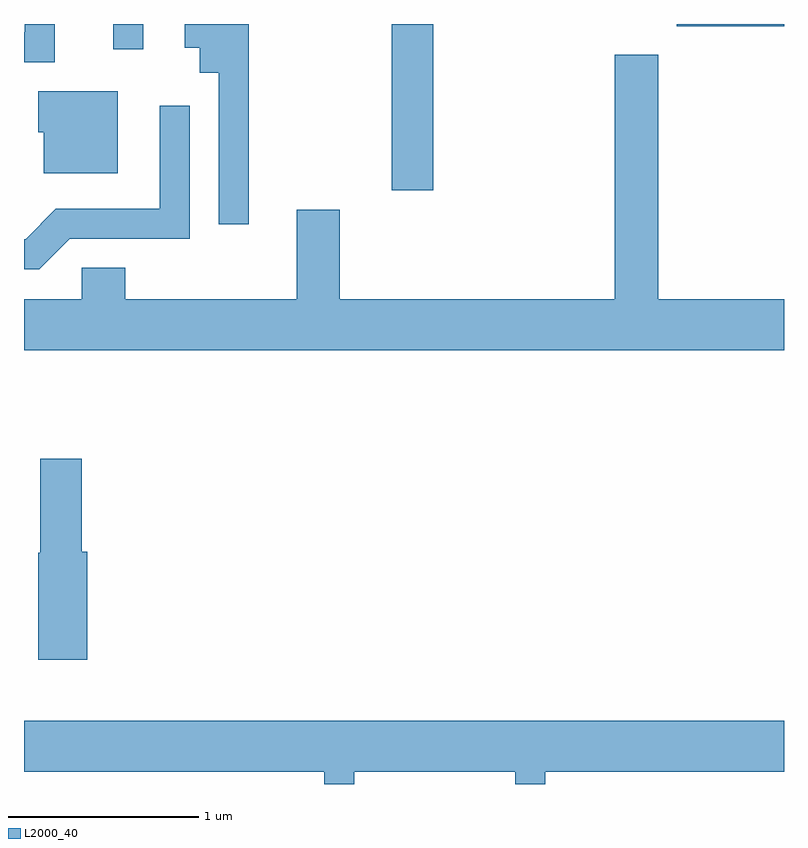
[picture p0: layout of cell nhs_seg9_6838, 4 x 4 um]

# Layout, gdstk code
import gdstk
lib = gdstk.Library(unit=1e-6, precision=1e-09)
def R(c, l, rs):  # rectangles x0, y0, x1, y1
    for r in rs: c.add(gdstk.rectangle(r[:2], r[2:], *l))
def P(c, l, *ps):  # polygons
    for p in ps: c.add(gdstk.Polygon(p, *l))
L2000_40 = (2000, 40)

nhs_seg9_6838 = lib.new_cell('nhs_seg9_6838')
R(nhs_seg9_6838, L2000_40, [(389.546,1981.556,389.764,1982.432), (388.081,1982.298,388.239,1982.432), (391.046,1982.421,391.611,1982.432)])
P(nhs_seg9_6838, L2000_40, [(388.794,1982.432),(388.456,1982.432),(388.456,1982.306),(388.536,1982.306),(388.536,1982.176),(388.636,1982.176),(388.636,1981.378),(388.794,1981.378)],
  [(387.774,1982.432),(387.616,1982.432),(387.616,1982.389),(387.611,1982.389),(387.611,1982.231),(387.774,1982.231)],
  [(391.611,1980.984),(390.949,1980.984),(390.949,1982.269),(390.721,1982.269),(390.721,1980.984),(389.274,1980.984),(389.274,1981.454),(389.046,1981.454),(389.046,1980.984),(388.144,1980.984),(388.144,1981.149),(387.916,1981.149),(387.916,1980.984),(387.611,1980.984),(387.611,1980.716),(391.611,1980.716)],
  [(388.104,1982.079),(387.686,1982.079),(387.686,1981.861),(387.716,1981.861),(387.716,1981.646),(388.104,1981.646)],
  [(387.852,1981.301),(388.484,1981.301),(388.484,1982.003),(388.326,1982.003),(388.326,1981.459),(387.779,1981.459),(387.619,1981.299),(387.611,1981.299),(387.611,1981.141),(387.692,1981.141)],
  [(387.944,1979.654),(387.914,1979.654),(387.914,1980.144),(387.696,1980.144),(387.696,1979.65),(387.686,1979.65),(387.686,1979.086),(387.944,1979.086)],
  [(389.349,1978.496),(390.196,1978.496),(390.196,1978.432),(390.354,1978.432),(390.354,1978.496),(391.611,1978.496),(391.611,1978.764),(387.611,1978.764),(387.611,1978.496),(389.191,1978.496),(389.191,1978.432),(389.349,1978.432)])

lib.write_gds('nhs_seg9_6838.gds')
